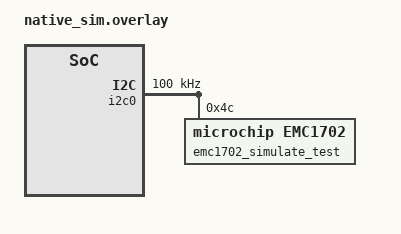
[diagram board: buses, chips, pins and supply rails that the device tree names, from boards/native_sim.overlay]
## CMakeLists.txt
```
cmake_minimum_required(VERSION 3.20.0)
find_package(Zephyr REQUIRED HINTS $ENV{ZEPHYR_BASE})

project(test_simulated_emc1702)

target_sources(app
  PRIVATE
  src/emc1702_test.c
  src/emul_emc1702.c
)

# Include private header for unit tests
zephyr_include_directories(${ZEPHYR_BASE}/drivers/sensor/microchip/emc1702/)
zephyr_include_directories(./src)
```

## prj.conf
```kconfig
CONFIG_SENSOR=y
CONFIG_ZTEST=y
CONFIG_EMUL=y
CONFIG_I2C_LOG_LEVEL_DBG=y
CONFIG_SENSOR_LOG_LEVEL_DBG=y
```

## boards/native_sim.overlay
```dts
/*
 * Copyright (c) 2026  Microchip Technology Inc. and its subsidiaries
 * SPDX-License-Identifier: Apache-2.0
 *
 */

&i2c0 {
	clock-frequency = <I2C_BITRATE_STANDARD>;
	status = "okay";

	emc1702_simulate_test: emc1702@4c {
		compatible = "microchip,emc1702";
		reg = <0x4c>;
		sense-resistor-milliohms = <10>;
		current-sense-range-mv = <10>;
		current-sense-sampling-time = <82>;
		current-sense-queue = <1>;
		voltage-source-queue = <1>;
		resistance-error-correction;
		conversion-rate = <4000>;
		external-diode-is-present;
		status = "okay";
	};
};
```

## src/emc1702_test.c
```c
/*
 * Copyright (c) 2026 Microchip Technology Inc. and its subsidiaries
 * SPDX-License-Identifier: Apache-2.0
 *
 * EMC1702 simulator test app
 *
 * The app simulates the chip and the I2C transactions in order to test
 * the capability of the driver to translate raw register values
 * into their physical equivalent.
 */

#include <zephyr/device.h>
#include <zephyr/devicetree.h>
#include <zephyr/drivers/emul.h>
#include <zephyr/drivers/i2c_emul.h>
#include <zephyr/drivers/sensor.h>
#include <zephyr/ztest.h>

#include "emc1702.h"
#include "emul_emc1702.h"

struct emc1702_fixture {
	const struct device *dev_basic;
	const struct emul *target_basic;
};

static void *emc1702_setup(void)
{
	static struct emc1702_fixture fixture = {
		.dev_basic = DEVICE_DT_GET(DT_NODELABEL(emc1702_simulate_test)),
		.target_basic = EMUL_DT_GET(DT_NODELABEL(emc1702_simulate_test)),
	};

	zassert_not_null(fixture.dev_basic);
	zassert_not_null(fixture.target_basic);

	return &fixture;
}

static void emc1702_before(void *f)
{
	struct emc1702_fixture *fixture = (struct emc1702_fixture *)f;

	zassert_true(device_is_ready(fixture->dev_basic), "I2C device %s is not ready",
		     fixture->dev_basic->name);
}

ZTEST_SUITE(emc1702, NULL, emc1702_setup, emc1702_before, NULL, NULL);

/**
 * @brief Test temperature reading
 */
ZTEST_F(emc1702, test_temp_read)
{
	struct sensor_value internal_val, external_val;
	int64_t internal, external;

	/*
	 * Set internal and external diode raw temp
	 *
	 * Datasheet Table 5.3 explains the temperature data format
	 *
	 * 1820h = 24.125°C
	 * 30e0h = 48.875°C
	 */
	emc1702_emul_set_reg_8(fixture->target_basic, EMC1702_REG_INTERNAL_DIODE_HIGH, 0x18);
	emc1702_emul_set_reg_8(fixture->target_basic, EMC1702_REG_INTERNAL_DIODE_LOW, 0x20);
	emc1702_emul_set_reg_8(fixture->target_basic, EMC1702_REG_EXTERNAL_DIODE_HIGH, 0x30);
	emc1702_emul_set_reg_8(fixture->target_basic, EMC1702_REG_EXTERNAL_DIODE_LOW, 0xe0);

	zassert_ok(sensor_sample_fetch(fixture->dev_basic));

	zassert_ok(sensor_channel_get(fixture->dev_basic, SENSOR_CHAN_DIE_TEMP, &internal_val));
	zassert_ok(sensor_channel_get(fixture->dev_basic, SENSOR_CHAN_AMBIENT_TEMP, &external_val));
	internal = sensor_value_to_micro(&internal_val);
	external = sensor_value_to_micro(&external_val);
	zexpect_within(20000000, internal, 10000000, "Got %.6f C", internal);
	zexpect_within(40000000, external, 10000000, "Got %.6f C", external);

	/*
	 * Test negative values
	 *
	 * c100h = -63°C
	 * 85a0h = -122.375°C
	 */
	emc1702_emul_set_reg_8(fixture->target_basic, EMC1702_REG_INTERNAL_DIODE_HIGH, 0xc1);
	emc1702_emul_set_reg_8(fixture->target_basic, EMC1702_REG_INTERNAL_DIODE_LOW, 0x00);
	emc1702_emul_set_reg_8(fixture->target_basic, EMC1702_REG_EXTERNAL_DIODE_HIGH, 0x85);
	emc1702_emul_set_reg_8(fixture->target_basic, EMC1702_REG_EXTERNAL_DIODE_LOW, 0xa0);

	zassert_ok(sensor_sample_fetch(fixture->dev_basic));

	zassert_ok(sensor_channel_get(fixture->dev_basic, SENSOR_CHAN_DIE_TEMP, &internal_val));
	zassert_ok(sensor_channel_get(fixture->dev_basic, SENSOR_CHAN_AMBIENT_TEMP, &external_val));
	internal = sensor_value_to_micro(&internal_val);
	external = sensor_value_to_micro(&external_val);
	zexpect_within(-60000000, internal, 10000000, "Got %.6f C", internal);
	zexpect_within(-130000000, external, 10000000, "Got %.6f C", external);

	/*
	 * ffe0h = -0.125°C
	 * 0020h = 0.125°C
	 */
	emc1702_emul_set_reg_8(fixture->target_basic, EMC1702_REG_INTERNAL_DIODE_HIGH, 0xff);
	emc1702_emul_set_reg_8(fixture->target_basic, EMC1702_REG_INTERNAL_DIODE_LOW, 0xe0);
	emc1702_emul_set_reg_8(fixture->target_basic, EMC1702_REG_EXTERNAL_DIODE_HIGH, 0x00);
	emc1702_emul_set_reg_8(fixture->target_basic, EMC1702_REG_EXTERNAL_DIODE_LOW, 0x20);

	zassert_ok(sensor_sample_fetch(fixture->dev_basic));

	zassert_ok(sensor_channel_get(fixture->dev_basic, SENSOR_CHAN_DIE_TEMP, &internal_val));
	zassert_ok(sensor_channel_get(fixture->dev_basic, SENSOR_CHAN_AMBIENT_TEMP, &external_val));
	internal = sensor_value_to_micro(&internal_val);
	external = sensor_value_to_micro(&external_val);
	zexpect_within(-125000, internal, 5000, "Got %.6f C", internal);
	zexpect_within(125000, external, 500, "Got %.6f C", external);
}

/**
 * @brief Test current reading
 */
ZTEST_F(emc1702, test_current_read)
{
	struct sensor_value current_val;
	int64_t current;

	/*
	 * Set raw current
	 *
	 * Datasheet Table 5.37 explains the current data format
	 *
	 * 0470h = 0.0346 A
	 */
	emc1702_emul_set_reg_8(fixture->target_basic, EMC1702_REG_SENSE_VOLTAGE_HIGH, 0x04);
	emc1702_emul_set_reg_8(fixture->target_basic, EMC1702_REG_SENSE_VOLTAGE_LOW, 0x70);

	zassert_ok(sensor_sample_fetch(fixture->dev_basic));

	zassert_ok(sensor_channel_get(fixture->dev_basic, SENSOR_CHAN_CURRENT, &current_val));
	current = sensor_value_to_micro(&current_val);
	zexpect_within(33000, current, 5000, "Got %.6f A", current);

	/*
	 * Test negative values
	 *
	 * 9a20h = -0.7958 A
	 */
	emc1702_emul_set_reg_8(fixture->target_basic, EMC1702_REG_SENSE_VOLTAGE_HIGH, 0x9a);
	emc1702_emul_set_reg_8(fixture->target_basic, EMC1702_REG_SENSE_VOLTAGE_LOW, 0x20);

	zassert_ok(sensor_sample_fetch(fixture->dev_basic));

	zassert_ok(sensor_channel_get(fixture->dev_basic, SENSOR_CHAN_CURRENT, &current_val));
	current = sensor_value_to_micro(&current_val);
	zexpect_within(-800000, current, 100000, "Got %.6f A", current);
}

/**
 * @brief Test voltage reading
 */
ZTEST_F(emc1702, test_voltage_read)
{
	struct sensor_value voltage_val;
	int64_t voltage;

	/*
	 * Set raw voltage
	 *
	 * 2280h = 3.232 V
	 */
	emc1702_emul_set_reg_8(fixture->target_basic, EMC1702_REG_SOURCE_VOLTAGE_HIGH, 0x22);
	emc1702_emul_set_reg_8(fixture->target_basic, EMC1702_REG_SOURCE_VOLTAGE_LOW, 0x80);

	zassert_ok(sensor_sample_fetch(fixture->dev_basic));

	zassert_ok(sensor_channel_get(fixture->dev_basic, SENSOR_CHAN_VOLTAGE, &voltage_val));
	voltage = sensor_value_to_micro(&voltage_val);
	zexpect_within(3000000, voltage, 300000, "Got %.6f A", voltage);

	/* 48a0h = 6.805 V */
	emc1702_emul_set_reg_8(fixture->target_basic, EMC1702_REG_SOURCE_VOLTAGE_HIGH, 0x48);
	emc1702_emul_set_reg_8(fixture->target_basic, EMC1702_REG_SOURCE_VOLTAGE_LOW, 0xa0);

	zassert_ok(sensor_sample_fetch(fixture->dev_basic));

	zassert_ok(sensor_channel_get(fixture->dev_basic, SENSOR_CHAN_VOLTAGE, &voltage_val));
	voltage = sensor_value_to_micro(&voltage_val);
	zexpect_within(6000000, voltage, 1000000, "Got %.6f A", voltage);
}
```

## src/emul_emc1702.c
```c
/*
 * Copyright (c) 2026 Microchip Technology Inc. and its subsidiaries
 * SPDX-License-Identifier: Apache-2.0
 */

#include <zephyr/device.h>
#include <zephyr/drivers/emul_sensor.h>
#include <zephyr/drivers/emul.h>
#include <zephyr/drivers/i2c_emul.h>
#include <zephyr/drivers/i2c.h>
#include <zephyr/logging/log.h>
#include <zephyr/sys/util.h>

#include "emc1702.h"
#include "emul_emc1702.h"

#define DT_DRV_COMPAT microchip_emc1702

LOG_MODULE_DECLARE(emc1702, CONFIG_SENSOR_LOG_LEVEL);

/* Register addresses are 8 bits wide, so every address is a valid index. */
#define NUM_REGS (UINT8_MAX + 1)

struct emc1702_emul_data {
	uint8_t reg[NUM_REGS];
};

struct emc1702_emul_cfg {
	uint16_t addr;
};

void emc1702_emul_set_reg_8(const struct emul *target, uint8_t reg_addr, uint8_t value)
{
	struct emc1702_emul_data *data = target->data;

	LOG_DBG("Setting emulated EMC1702 8-bit register %u: Value 0x%02X", reg_addr, value);

	data->reg[reg_addr] = value;
}

void emc1702_emul_reset(const struct emul *target)
{
	struct emc1702_emul_data *data = target->data;

	LOG_DBG("Resetting EMC1702 emulator registers");

	memset(&data->reg, 0, sizeof(data->reg));
	data->reg[EMC1702_REG_MANUFACTURER_ID] = EMC1702_MANUFACTURER_ID;
	data->reg[EMC1702_REG_PRODUCT_ID] = EMC1702_PRODUCT_ID;
	data->reg[EMC1702_REG_REVISION] = 0x82;
}

static int emc1702_emul_init(const struct emul *target, const struct device *parent)
{
	ARG_UNUSED(parent);

	LOG_DBG("Initializing EMC1702 emulator");

	emc1702_emul_reset(target);

	return 0;
}

static int emc1702_emul_i2c_write(const struct emul *target, struct i2c_msg msgs[], int num_msgs,
				  int addr)
{
	uint8_t reg_addr;
	uint8_t write_value;
	struct emc1702_emul_data *data = (struct emc1702_emul_data *)target->data;

	if (msgs[0].len != 2) {
		LOG_ERR("Write messages should contain 2 bytes, has %d bytes", msgs[0].len);
		return -EIO;
	}

	reg_addr = msgs[0].buf[0];
	write_value = msgs[0].buf[1];

	data->reg[reg_addr] = write_value;
	LOG_DBG("Write 8 bits to register %u: value 0x%02X via emulated I2C", reg_addr,
		write_value);

	return 0;
}

static int emc1702_emul_i2c_read(const struct emul *target, struct i2c_msg msgs[], int num_msgs,
				 int addr)
{
	uint32_t read_len;
	uint8_t reg_addr;
	struct emc1702_emul_data *data = (struct emc1702_emul_data *)target->data;

	if (!(msgs[1].flags & I2C_MSG_READ)) {
		LOG_ERR("The second I2C message should be of type read");
		return -EIO;
	}
	if (msgs[0].len != 1) {
		LOG_ERR("First message for read should have 1 byte for register address, but has "
			"%d bytes",
			msgs[0].len);
		return -EIO;
	}

	read_len = msgs[1].len;
	reg_addr = msgs[0].buf[0];

	if (read_len == 1) {
		msgs[1].buf[0] = data->reg[reg_addr];
		LOG_DBG("Read 8 bits from register %u: 0x%02X via emulated I2C", reg_addr,
			msgs[1].buf[0]);
		return 0;
	}

	LOG_ERR("Invalid read size for register %u: %u bytes", reg_addr, read_len);
	return -EIO;
}

static int emc1702_emul_transfer_i2c(const struct emul *target, struct i2c_msg msgs[], int num_msgs,
				     int addr)
{
	if (!msgs || num_msgs < 1 || num_msgs > 2) {
		LOG_ERR("Invalid number of I2C messages: %d", num_msgs);
		return -EIO;
	}

	if (msgs[0].flags & I2C_MSG_READ) {
		LOG_ERR("The first I2C message should be write");
		return -EIO;
	}

	if (num_msgs == 1) {
		return emc1702_emul_i2c_write(target, msgs, num_msgs, addr);
	}

	return emc1702_emul_i2c_read(target, msgs, num_msgs, addr);
}

static const struct i2c_emul_api emc1702_emul_api_i2c = {
	.transfer = emc1702_emul_transfer_i2c,
};

#define EMC1702_EMUL(n)                                                                            \
	static const struct emc1702_emul_cfg emc1702_emul_cfg_##n = {.addr = DT_INST_REG_ADDR(n)}; \
	static struct emc1702_emul_data emc1702_emul_data_##n = {0};                               \
	EMUL_DT_INST_DEFINE(n, emc1702_emul_init, &emc1702_emul_data_##n, &emc1702_emul_cfg_##n,   \
			    &emc1702_emul_api_i2c, NULL)

DT_INST_FOREACH_STATUS_OKAY(EMC1702_EMUL)
```

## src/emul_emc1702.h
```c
/*
 * Copyright (c) 2026 Microchip Technology Inc. and its subsidiaries
 * SPDX-License-Identifier: Apache-2.0
 */

#ifndef EMUL_EMC1702_H
#define EMUL_EMC1702_H

#include <stdint.h>

/**
 * @brief Prepare the contents of an emulated 8-bit register
 *
 * @param target        Emulator pointer
 * @param reg_addr      Register address
 * @param value         Value to set in the emulated register
 */
void emc1702_emul_set_reg_8(const struct emul *target, uint8_t reg_addr, uint8_t value);

/**
 * @brief Reset the emulated registers
 *
 * @param target        Emulator pointer
 */
void emc1702_emul_reset(const struct emul *target);

#endif /* EMUL_EMC1702_H */
```
